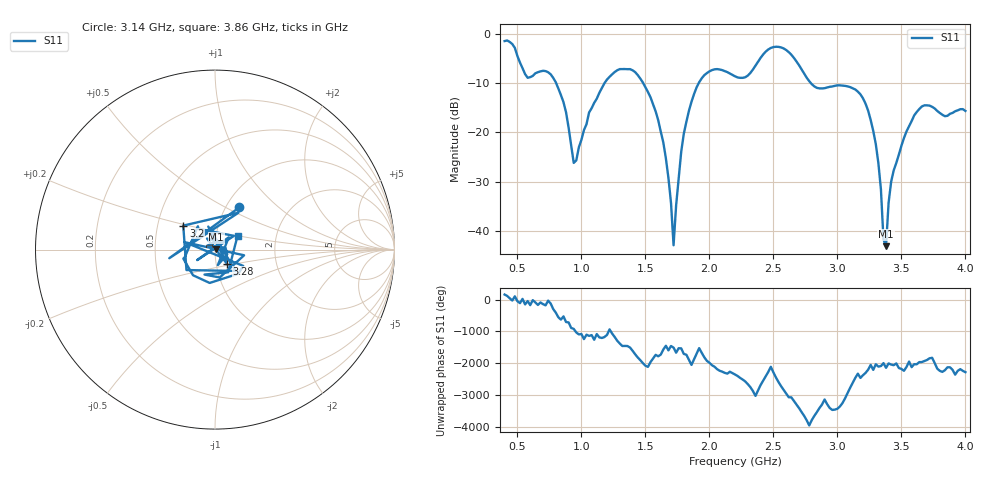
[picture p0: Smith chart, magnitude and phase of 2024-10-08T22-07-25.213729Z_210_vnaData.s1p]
! Created with skrf (http://scikit-rf.org).
# Hz S RI R 50.0
!freq ReS11 ImS11
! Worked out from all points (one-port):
!   181 points, 400 MHz to 4 GHz, reference 50 ohm
!   lowest |S11| = -43.1 dB at 3.38 GHz (marker M1), VSWR 1.01, Z = 50.7 + j0.183 ohm
!   |S11| at or under -10 dB: 802.6 MHz to 1.18 GHz (377.8 MHz wide, 38.1 % of centre); 1.483 GHz to 1.917 GHz (433.8 MHz wide, 25.5 % of centre); 2.793 GHz to end of sweep
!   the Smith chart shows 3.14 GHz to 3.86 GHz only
!   S11 on the Smith chart (normalised r, x): 3.14 GHz: 1.16, +0.59; 3.2 GHz: 0.68, +0.19; 3.28 GHz: 1.13, -0.18; 3.86 GHz: 1.27, +0.20
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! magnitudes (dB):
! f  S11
! 400 MHz  -1.5
! 860 MHz  -13.9
! 940 MHz  -26.2
! 1.06 GHz  -16.0
! 1.3 GHz  -7.2
! 1.44 GHz  -8.4
! 1.58 GHz  -15.7
! 1.66 GHz  -25.3
! 1.72 GHz  -42.9
! 1.76 GHz  -29.3
! 1.8 GHz  -20.3
! 1.92 GHz  -9.8
! 2.2 GHz  -8.6
! 2.5 GHz  -2.7
! 2.66 GHz  -4.9
! 2.84 GHz  -11.0
! 3.1 GHz  -10.8
! 3.14 GHz  -11.3
! 3.2 GHz  -13.1
! 3.28 GHz  -19.7
! 3.34 GHz  -31.5
! 3.36 GHz  -41.7
! 3.38 GHz  -43.1
! 3.42 GHz  -30.0
! 3.56 GHz  -18.7
! 3.68 GHz  -14.5
! 3.86 GHz  -16.6
! 4 GHz  -15.6
